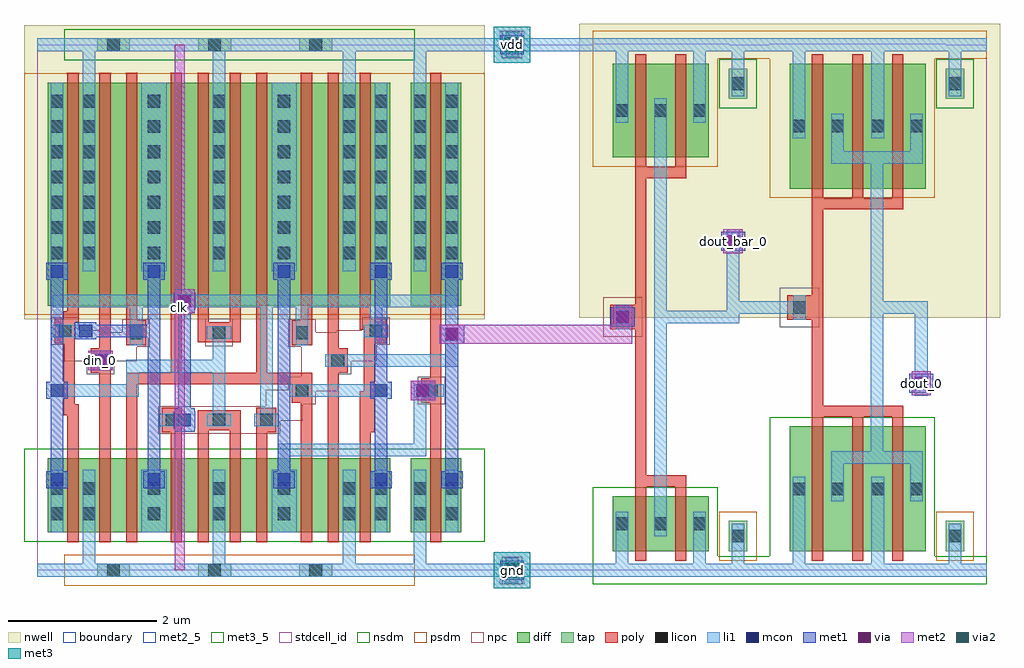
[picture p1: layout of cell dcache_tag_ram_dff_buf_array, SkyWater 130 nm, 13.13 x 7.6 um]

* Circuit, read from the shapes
.subckt dcache_tag_ram_dff_buf_array clk din_0 dout_0 dout_bar_0 gnd vdd
XM1 gnd n1 n2 gnd sky130_fd_pr__nfet_01v8 w=1 l=0.15
XM2 n3 din_0 gnd gnd sky130_fd_pr__nfet_01v8 w=1 l=0.15
XM3 n1 n4 n3 gnd sky130_fd_pr__nfet_01v8 w=1 l=0.15
XM4 n5 clk n1 gnd sky130_fd_pr__nfet_01v8 w=1 l=0.15
XM5 gnd n2 n5 gnd sky130_fd_pr__nfet_01v8 w=1 l=0.15
XM6 n6 n2 gnd gnd sky130_fd_pr__nfet_01v8 w=1 l=0.15
XM7 dcache_tag_ram_dff_buf_0_0/sky130_fd_bd_sram__openram_dff_0/QN clk n6 gnd sky130_fd_pr__nfet_01v8 w=1 l=0.15
XM8 n7 n4 dcache_tag_ram_dff_buf_0_0/sky130_fd_bd_sram__openram_dff_0/QN gnd sky130_fd_pr__nfet_01v8 w=1 l=0.15
XM9 gnd dcache_tag_ram_dff_buf_0_0/dcache_tag_ram_pinv_1/A n7 gnd sky130_fd_pr__nfet_01v8 w=1 l=0.15
XM10 n4 clk gnd gnd sky130_fd_pr__nfet_01v8 w=1 l=0.15
XM11 dcache_tag_ram_dff_buf_0_0/dcache_tag_ram_pinv_1/A dcache_tag_ram_dff_buf_0_0/sky130_fd_bd_sram__openram_dff_0/QN gnd gnd sky130_fd_pr__nfet_01v8 w=1 l=0.15
XM12 dout_bar_0 dcache_tag_ram_dff_buf_0_0/dcache_tag_ram_pinv_1/A gnd gnd sky130_fd_pr__nfet_01v8 w=0.74 l=0.15 m=2
XM13 dout_0 dout_bar_0 gnd gnd sky130_fd_pr__nfet_01v8 w=1.68 l=0.15 m=3
XM14 vdd n1 n2 vdd sky130_fd_pr__pfet_01v8 w=3 l=0.15
XM15 n8 din_0 vdd vdd sky130_fd_pr__pfet_01v8 w=3 l=0.15
XM16 n1 clk n8 vdd sky130_fd_pr__pfet_01v8 w=3 l=0.15
XM17 n9 n4 n1 vdd sky130_fd_pr__pfet_01v8 w=3 l=0.15
XM18 vdd n2 n9 vdd sky130_fd_pr__pfet_01v8 w=3 l=0.15
XM19 n10 n2 vdd vdd sky130_fd_pr__pfet_01v8 w=3 l=0.15
XM20 dcache_tag_ram_dff_buf_0_0/sky130_fd_bd_sram__openram_dff_0/QN n4 n10 vdd sky130_fd_pr__pfet_01v8 w=3 l=0.15
XM21 n11 clk dcache_tag_ram_dff_buf_0_0/sky130_fd_bd_sram__openram_dff_0/QN vdd sky130_fd_pr__pfet_01v8 w=3 l=0.15
XM22 vdd dcache_tag_ram_dff_buf_0_0/dcache_tag_ram_pinv_1/A n11 vdd sky130_fd_pr__pfet_01v8 w=3 l=0.15
XM23 n4 clk vdd vdd sky130_fd_pr__pfet_01v8 w=3 l=0.15
XM24 dcache_tag_ram_dff_buf_0_0/dcache_tag_ram_pinv_1/A dcache_tag_ram_dff_buf_0_0/sky130_fd_bd_sram__openram_dff_0/QN vdd vdd sky130_fd_pr__pfet_01v8 w=3 l=0.15
XM25 dout_bar_0 dcache_tag_ram_dff_buf_0_0/dcache_tag_ram_pinv_1/A vdd vdd sky130_fd_pr__pfet_01v8 w=1.26 l=0.15 m=2
XM26 dout_0 dout_bar_0 vdd vdd sky130_fd_pr__pfet_01v8 w=1.68 l=0.15 m=3
.ends

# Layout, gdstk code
import gdstk
lib = gdstk.Library(unit=1e-6, precision=1e-09)
def R(c, l, rs):  # rectangles x0, y0, x1, y1
    for r in rs: c.add(gdstk.rectangle(r[:2], r[2:], *l))
def A(c, l, x, y, w, h, nx, ny, dx, dy):  # array of equal rectangles
    R(c, l, [(x+i*dx, y+j*dy, x+i*dx+w, y+j*dy+h) for i in range(nx) for j in range(ny)])
nwell = (64, 20)
diff = (65, 20)
tap = (65, 44)
poly = (66, 20)
licon = (66, 44)
li1 = (67, 20)
mcon = (67, 44)
met1 = (68, 20)
via = (68, 44)
met2_5 = (69, 5)
met2 = (69, 20)
via2 = (69, 44)
met3_5 = (70, 5)
met3 = (70, 20)
stdcell_id = (81, 4)
nsdm = (93, 44)
psdm = (94, 20)
npc = (95, 20)
boundary = (235, 4)

sky130_fd_bd_sram__openr = lib.new_cell('sky130_fd_bd_sram__openram_dff')
R(sky130_fd_bd_sram__openr, nwell, [(-0.18,3.38,6.02,7.335)])
R(sky130_fd_bd_sram__openr, diff, [(0.14,0.51,4.75,1.51), (5.02,0.51,5.7,1.51), (0.14,3.56,4.75,6.56), (5.02,3.56,5.7,6.56)])
A(sky130_fd_bd_sram__openr, tap, 0.805, -0.085, 0.44, 0.17, 3, 2, 1.36, 7.07)
R(sky130_fd_bd_sram__openr, poly, [(0.405,0.38,0.555,2.085), (0.835,0.38,0.985,2.655), (1.195,0.38,1.345,2.505), (1.795,0.38,1.945,1.855), (2.155,0.38,2.305,1.885), (2.585,0.38,2.735,1.885), (2.945,0.38,3.095,1.855), (3.545,0.38,3.695,2.255), (3.905,0.38,4.055,2.655), (4.335,0.38,4.485,1.855), (5.285,0.38,5.435,2.255), (1.675,1.855,1.945,2.185), (2.945,1.855,3.215,2.185), (4.335,1.855,4.54,2.405), (2.155,1.885,2.735,2.155), (0.355,2.085,0.555,2.235), (0.355,2.235,0.505,3.055), (3.425,2.255,3.695,2.505), (5.165,2.255,5.435,2.585), (4.39,2.405,4.54,3.055), (1.195,2.505,3.695,2.655), (5.285,2.585,5.435,6.69), (0.715,2.655,0.985,2.985), (1.795,2.655,1.945,6.69), (2.945,2.655,3.095,6.69), (3.905,2.655,4.175,2.985), (0.835,2.985,0.985,6.69), (3.905,2.985,4.055,6.69), (1.195,3.03,1.465,3.36), (3.425,3.03,3.695,3.36), (0.235,3.055,0.505,3.335), (4.39,3.055,4.69,3.235), (2.155,3.065,2.735,3.335), (4.335,3.235,4.69,3.385), (0.235,3.335,0.555,3.385), (2.155,3.335,2.305,6.69), (2.585,3.335,2.735,6.69), (1.195,3.36,1.345,6.69), (3.545,3.36,3.695,6.69), (0.35,3.385,0.555,3.485), (4.335,3.385,4.485,6.69), (0.405,3.485,0.555,6.69)])
A(sky130_fd_bd_sram__openr, licon, 0.94, -0.085, 0.17, 0.17, 3, 2, 1.36, 7.07)
A(sky130_fd_bd_sram__openr, licon, 0.61, 0.675, 0.17, 0.17, 5, 2, 0.875, 0.34)
A(sky130_fd_bd_sram__openr, licon, 1.725, 1.935, 0.17, 0.17, 3, 1, 0.635, 0)
A(sky130_fd_bd_sram__openr, licon, 0.18, 4.185, 0.17, 0.17, 1, 7, 0, 0.34)
A(sky130_fd_bd_sram__openr, licon, 0.61, 4.185, 0.17, 0.17, 5, 7, 0.875, 0.34)
A(sky130_fd_bd_sram__openr, licon, 4.54, 4.185, 0.17, 0.17, 1, 7, 0, 0.34)
A(sky130_fd_bd_sram__openr, licon, 5.06, 4.185, 0.17, 0.17, 1, 7, 0, 0.34)
A(sky130_fd_bd_sram__openr, licon, 5.49, 4.185, 0.17, 0.17, 1, 7, 0, 0.34)
R(sky130_fd_bd_sram__openr, licon, [(0.18,0.675,0.35,0.845), (4.54,0.675,4.71,0.845), (5.06,0.675,5.23,0.845), (5.49,0.675,5.66,0.845), (0.18,1.015,0.35,1.185), (4.54,1.015,4.71,1.185), (5.06,1.015,5.23,1.185), (5.49,1.015,5.66,1.185), (3.475,2.335,3.645,2.505), (5.215,2.335,5.385,2.505), (0.765,2.735,0.935,2.905), (3.955,2.735,4.125,2.905), (1.245,3.11,1.415,3.28), (3.475,3.11,3.645,3.28), (2.36,3.115,2.53,3.285), (0.285,3.135,0.455,3.305), (4.47,3.135,4.64,3.305)])
A(sky130_fd_bd_sram__openr, li1, 0.61, 0.09, 0.17, 1.26, 3, 1, 1.75, 0)
A(sky130_fd_bd_sram__openr, li1, 0.61, 4.02, 0.17, 2.96, 3, 1, 1.75, 0)
R(sky130_fd_bd_sram__openr, li1, [(0,-0.09,5.84,0.09), (0,-0.09,5.84,0.09), (5.06,0.09,5.23,1.35), (0.18,0.51,0.35,1.35), (1.4,0.51,1.74,1.35), (3.15,0.51,3.49,1.35), (4.54,0.51,4.71,1.355), (5.49,0.51,5.66,1.355), (3.235,1.35,3.405,1.535), (3.235,1.535,5.23,1.705), (5.06,1.705,5.23,2.335), (1.64,1.935,2.065,2.105), (2.28,1.935,2.61,2.105), (2.915,1.935,3.245,2.105), (2.36,2.105,2.53,2.66), (2.995,2.105,3.165,3.535), (0.18,2.335,1.365,2.505), (3.395,2.335,4.71,2.505), (5.06,2.335,5.465,2.505), (1.195,2.505,1.365,2.66), (1.195,2.66,2.53,2.83), (0.685,2.735,1.015,2.905), (3.875,2.735,5.66,2.905), (2.36,2.83,2.53,3.115), (5.49,2.905,5.66,3.26), (1.245,3.03,1.415,3.535), (3.475,3.03,3.645,3.535), (2.28,3.115,2.61,3.285), (0.205,3.135,0.735,3.305), (4.39,3.135,4.72,3.305), (4.47,3.305,4.64,3.535), (0.205,3.535,5.66,3.705), (0.18,3.935,0.35,6.56), (1.485,3.935,1.655,4.02), (3.235,3.935,3.405,4.02), (4.54,3.935,4.71,6.56), (5.49,3.935,5.66,6.56), (1.4,4.02,1.74,6.56), (3.15,4.02,3.49,6.56), (5.06,4.02,5.23,6.98), (0,6.98,5.84,7.16), (0,6.98,5.84,7.16), (0,6.98,5.84,7.16)])
R(sky130_fd_bd_sram__openr, mcon, [(0.18,1.135,0.35,1.305), (1.485,1.135,1.655,1.305), (3.235,1.135,3.405,1.305), (4.54,1.135,4.71,1.305), (5.49,1.135,5.66,1.305), (1.895,1.935,2.065,2.105), (0.18,2.335,0.35,2.505), (4.54,2.335,4.71,2.505), (5.1,2.335,5.27,2.505), (0.765,2.735,0.935,2.905), (5.49,3.09,5.66,3.26), (0.565,3.135,0.735,3.305), (1.895,3.535,2.065,3.705), (0.18,3.935,0.35,4.105), (1.485,3.935,1.655,4.105), (3.235,3.935,3.405,4.105), (4.54,3.935,4.71,4.105), (5.49,3.935,5.66,4.105)])
R(sky130_fd_bd_sram__openr, met1, [(0.12,1.105,0.41,1.335), (1.425,1.105,1.715,1.335), (3.175,1.105,3.465,1.335), (4.48,1.105,4.77,1.335), (5.43,1.105,5.72,1.335), (0.18,1.335,0.35,2.305), (1.485,1.335,1.655,3.135), (3.235,1.335,3.405,3.905), (4.54,1.335,4.71,2.305), (5.49,1.335,5.66,3.045), (1.845,1.86,2.115,1.905), (1.835,1.905,2.125,2.135), (1.845,2.135,2.115,2.18), (1.895,2.18,2.065,3.46), (5.02,2.29,5.35,2.55), (0.12,2.305,0.41,2.535), (4.48,2.305,4.77,2.535), (0.18,2.535,0.35,3.905), (4.54,2.535,4.71,3.905), (0.685,2.69,1.015,2.95), (5.41,3.045,5.74,3.305), (0.505,3.105,0.795,3.135), (0.505,3.135,1.655,3.305), (0.505,3.305,0.795,3.335), (1.485,3.305,1.655,3.905), (5.49,3.305,5.66,3.905), (1.845,3.46,2.115,3.505), (1.835,3.505,2.125,3.735), (1.845,3.735,2.115,3.78), (0.12,3.905,0.41,4.135), (1.425,3.905,1.715,4.135), (3.175,3.905,3.465,4.135), (4.48,3.905,4.77,4.135), (5.43,3.905,5.72,4.135)])
R(sky130_fd_bd_sram__openr, via, [(5.11,2.345,5.26,2.495), (0.775,2.745,0.925,2.895), (5.5,3.1,5.65,3.25), (1.905,3.545,2.055,3.695)])
R(sky130_fd_bd_sram__openr, met2_5, [(0.685,2.69,1.015,2.95), (5.41,3.045,5.74,3.305), (1.845,3.46,2.115,3.78)])
R(sky130_fd_bd_sram__openr, met2, [(5.02,2.29,5.35,2.55), (0.685,2.69,1.015,2.95), (0.685,2.69,1.015,2.95), (0.685,2.69,1.015,2.95), (5.41,3.045,5.74,3.305), (5.41,3.045,5.74,3.305), (5.41,3.045,5.74,3.305), (1.845,3.46,2.115,3.78), (1.845,3.46,2.115,3.78), (1.845,3.46,2.115,3.78)])
R(sky130_fd_bd_sram__openr, stdcell_id, [(0,0,5.84,7.07)])
R(sky130_fd_bd_sram__openr, nsdm, [(-0.18,0.385,6.02,1.635), (0.36,6.86,5.075,7.07), (0.36,7.07,5.075,7.28)])
R(sky130_fd_bd_sram__openr, psdm, [(0.36,-0.21,5.075,0), (0.36,0,5.075,0.21), (-0.18,3.435,6.02,6.685)])
R(sky130_fd_bd_sram__openr, npc, [(1.625,1.835,3.265,2.01), (1.625,2.01,3.57,2.205), (3.07,2.205,3.57,2.235), (3.07,2.235,3.745,2.41), (5.115,2.235,5.485,2.605), (3.07,2.41,4.05,2.43), (3.375,2.43,4.05,2.605), (3.55,2.605,4.05,2.635), (0.665,2.635,1.035,2.81), (3.55,2.635,4.225,2.81), (0.36,2.81,1.34,3.01), (3.55,2.81,4.565,3.01), (0.36,3.01,1.515,3.035), (3.375,3.01,4.565,3.035), (2.26,3.015,2.63,3.385), (0.185,3.035,1.515,3.205), (3.375,3.035,4.74,3.205), (0.185,3.205,0.86,3.23), (1.145,3.205,1.515,3.38), (3.375,3.205,3.745,3.38), (4.03,3.205,4.74,3.23), (0.185,3.23,0.555,3.405), (4.37,3.23,4.74,3.405)])
R(sky130_fd_bd_sram__openr, boundary, [(0,0,5.84,7.07)])
sky130_fd_bd_sram__openr.add(gdstk.Label('QN', (5.035,2.52), layer=69, texttype=5))
sky130_fd_bd_sram__openr.add(gdstk.Label('CLK', (1.98,3.62), layer=69, texttype=5))
sky130_fd_bd_sram__openr.add(gdstk.Label('D', (0.85,2.82), layer=69, texttype=5))
sky130_fd_bd_sram__openr.add(gdstk.Label('Q', (5.575,3.175), layer=69, texttype=5))
sky130_fd_bd_sram__openr.add(gdstk.Label('VDD', (2.74,7.08), layer=67, texttype=5))
sky130_fd_bd_sram__openr.add(gdstk.Label('GND', (2.72,0), layer=67, texttype=5))
sky130_fd_bd_sram__openr.add(gdstk.Label('D', (0.85,2.82), layer=69, texttype=5))
sky130_fd_bd_sram__openr.add(gdstk.Label('Q', (5.575,3.175), layer=69, texttype=5))
sky130_fd_bd_sram__openr.add(gdstk.Label('clk', (1.98,3.62), layer=69, texttype=5))
sky130_fd_bd_sram__openr.add(gdstk.Label('vdd', (2.92,7.07), layer=67, texttype=5))
sky130_fd_bd_sram__openr.add(gdstk.Label('gnd', (2.92,0), layer=67, texttype=5))

dcache_tag_ram_contact_1 = lib.new_cell('dcache_tag_ram_contact_11')
R(dcache_tag_ram_contact_1, nwell, [(-0.295,-0.255,0.545,0.585)])
R(dcache_tag_ram_contact_1, diff, [(0,0.02,0.25,0.31)])
R(dcache_tag_ram_contact_1, licon, [(0.04,0.08,0.21,0.25)])
R(dcache_tag_ram_contact_1, li1, [(0.04,0,0.21,0.33)])
R(dcache_tag_ram_contact_1, stdcell_id, [(-0.295,-0.255,0.545,0.585)])
R(dcache_tag_ram_contact_1, psdm, [(-0.125,-0.105,0.375,0.435)])
R(dcache_tag_ram_contact_1, boundary, [(-0.295,-0.255,0.545,0.585)])

dcache_tag_ram_pmos_m2_w = lib.new_cell('dcache_tag_ram_pmos_m2_w1_260_sli_dli_da_p')
R(dcache_tag_ram_pmos_m2_w, nwell, [(-0.27,-0.27,1.56,1.53)])
R(dcache_tag_ram_pmos_m2_w, diff, [(0,0,1.29,1.26)])
R(dcache_tag_ram_pmos_m2_w, poly, [(0.3,-0.28,0.99,-0.13), (0.3,-0.13,0.45,1.39), (0.84,-0.13,0.99,1.39)])
A(dcache_tag_ram_pmos_m2_w, li1, 0.04, 0.465, 0.17, 0.33, 3, 1, 0.52, 0)
R(dcache_tag_ram_pmos_m2_w, stdcell_id, [(-0.27,-0.28,1.56,1.53)])
R(dcache_tag_ram_pmos_m2_w, psdm, [(-0.125,-0.125,1.415,1.385)])
R(dcache_tag_ram_pmos_m2_w, boundary, [(-0.27,-0.28,1.56,1.53)])
dcache_tag_ram_pmos_m2_w.add(gdstk.Reference(dcache_tag_ram_contact_1, (0,0.465)))
dcache_tag_ram_pmos_m2_w.add(gdstk.Reference(dcache_tag_ram_contact_1, (0.52,0.465)))
dcache_tag_ram_pmos_m2_w.add(gdstk.Reference(dcache_tag_ram_contact_1, (1.04,0.465)))
dcache_tag_ram_pmos_m2_w.add(gdstk.Label('G', (0.645,-0.205), layer=66, texttype=5))
dcache_tag_ram_pmos_m2_w.add(gdstk.Label('S', (1.165,0.63), layer=67, texttype=5))
dcache_tag_ram_pmos_m2_w.add(gdstk.Label('S', (0.125,0.63), layer=67, texttype=5))
dcache_tag_ram_pmos_m2_w.add(gdstk.Label('D', (0.645,0.63), layer=67, texttype=5))

c_dcache_tag_ram_contact_1 = lib.new_cell('dcache_tag_ram_contact_10')
R(c_dcache_tag_ram_contact_1, diff, [(0,0.02,0.25,0.31)])
R(c_dcache_tag_ram_contact_1, licon, [(0.04,0.08,0.21,0.25)])
R(c_dcache_tag_ram_contact_1, li1, [(0.04,0,0.21,0.33)])
R(c_dcache_tag_ram_contact_1, stdcell_id, [(-0.125,-0.105,0.375,0.435)])
R(c_dcache_tag_ram_contact_1, nsdm, [(-0.125,-0.105,0.375,0.435)])
R(c_dcache_tag_ram_contact_1, boundary, [(-0.125,-0.105,0.375,0.435)])

dcache_tag_ram_nmos_m2_w = lib.new_cell('dcache_tag_ram_nmos_m2_w0_740_sli_dli_da_p')
R(dcache_tag_ram_nmos_m2_w, diff, [(0,0,1.29,0.74)])
R(dcache_tag_ram_nmos_m2_w, poly, [(0.3,-0.13,0.45,0.87), (0.84,-0.13,0.99,0.87), (0.3,0.87,0.99,1.02)])
A(dcache_tag_ram_nmos_m2_w, li1, 0.04, 0.205, 0.17, 0.33, 3, 1, 0.52, 0)
R(dcache_tag_ram_nmos_m2_w, stdcell_id, [(-0.125,-0.13,1.415,1.02)])
R(dcache_tag_ram_nmos_m2_w, nsdm, [(-0.125,-0.125,1.415,0.865)])
R(dcache_tag_ram_nmos_m2_w, boundary, [(-0.125,-0.13,1.415,1.02)])
dcache_tag_ram_nmos_m2_w.add(gdstk.Reference(c_dcache_tag_ram_contact_1, (0,0.205)))
dcache_tag_ram_nmos_m2_w.add(gdstk.Reference(c_dcache_tag_ram_contact_1, (0.52,0.205)))
dcache_tag_ram_nmos_m2_w.add(gdstk.Reference(c_dcache_tag_ram_contact_1, (1.04,0.205)))
dcache_tag_ram_nmos_m2_w.add(gdstk.Label('G', (0.645,0.945), layer=66, texttype=5))
dcache_tag_ram_nmos_m2_w.add(gdstk.Label('S', (1.165,0.37), layer=67, texttype=5))
dcache_tag_ram_nmos_m2_w.add(gdstk.Label('S', (0.125,0.37), layer=67, texttype=5))
dcache_tag_ram_nmos_m2_w.add(gdstk.Label('D', (0.645,0.37), layer=67, texttype=5))

dcache_tag_ram_contact_2 = lib.new_cell('dcache_tag_ram_contact_24')
R(dcache_tag_ram_contact_2, nwell, [(-0.295,-0.215,0.545,0.625)])
R(dcache_tag_ram_contact_2, tap, [(0,0,0.25,0.41)])
R(dcache_tag_ram_contact_2, licon, [(0.04,0.12,0.21,0.29)])
R(dcache_tag_ram_contact_2, li1, [(0.04,0.04,0.21,0.37)])
R(dcache_tag_ram_contact_2, stdcell_id, [(-0.295,-0.215,0.545,0.625)])
R(dcache_tag_ram_contact_2, nsdm, [(-0.125,-0.125,0.375,0.535)])
R(dcache_tag_ram_contact_2, boundary, [(-0.295,-0.215,0.545,0.625)])

c_dcache_tag_ram_contact_2 = lib.new_cell('dcache_tag_ram_contact_25')
R(c_dcache_tag_ram_contact_2, tap, [(0,0,0.25,0.41)])
R(c_dcache_tag_ram_contact_2, licon, [(0.04,0.12,0.21,0.29)])
R(c_dcache_tag_ram_contact_2, li1, [(0.04,0.04,0.21,0.37)])
R(c_dcache_tag_ram_contact_2, stdcell_id, [(-0.125,-0.125,0.375,0.535)])
R(c_dcache_tag_ram_contact_2, psdm, [(-0.125,-0.125,0.375,0.535)])
R(c_dcache_tag_ram_contact_2, boundary, [(-0.125,-0.125,0.375,0.535)])

c_dcache_tag_ram_contact_1_ = lib.new_cell('dcache_tag_ram_contact_15')
R(c_dcache_tag_ram_contact_1_, poly, [(0,0,0.33,0.33)])
R(c_dcache_tag_ram_contact_1_, licon, [(0.08,0.08,0.25,0.25)])
R(c_dcache_tag_ram_contact_1_, li1, [(0.08,0,0.25,0.33)])
R(c_dcache_tag_ram_contact_1_, stdcell_id, [(-0.1,-0.1,0.43,0.43)])
R(c_dcache_tag_ram_contact_1_, npc, [(-0.1,-0.1,0.43,0.43)])
R(c_dcache_tag_ram_contact_1_, boundary, [(-0.1,-0.1,0.43,0.43)])

dcache_tag_ram_pinv = lib.new_cell('dcache_tag_ram_pinv')
R(dcache_tag_ram_pinv, nwell, [(-0.18,3.395,2.56,7.355)])
R(dcache_tag_ram_pinv, poly, [(0.57,1.275,0.72,5.275), (0.405,3.24,0.57,3.57)])
R(dcache_tag_ram_pinv, li1, [(0,-0.085,2.38,0.085), (0.31,-0.085,0.48,0.46), (1.35,-0.085,1.52,0.46), (1.87,0,2.04,0.46), (0.83,0.46,1,6.35), (0.32,3.24,0.49,3.57), (0.915,3.32,1.085,3.49), (0.31,6.02,0.48,7.155), (1.35,6.02,1.52,7.155), (1.87,6.545,2.04,7.07), (0,6.985,2.38,7.155)])
R(dcache_tag_ram_pinv, stdcell_id, [(0,0,2.38,7.07), (0,0,2.38,7.07)])
R(dcache_tag_ram_pinv, nsdm, [(0,-0.19,2.38,0.19), (0,0,1.685,1.12)])
R(dcache_tag_ram_pinv, psdm, [(0,5.43,1.685,7.07), (0,6.88,2.38,7.26)])
R(dcache_tag_ram_pinv, boundary, [(0,0,2.38,7.07), (0,0,2.38,7.07)])
dcache_tag_ram_pinv.add(gdstk.Reference(dcache_tag_ram_pmos_m2_w, (0.27,5.555)))
dcache_tag_ram_pinv.add(gdstk.Reference(dcache_tag_ram_nmos_m2_w, (0.27,0.255)))
dcache_tag_ram_pinv.add(gdstk.Reference(dcache_tag_ram_contact_2, (1.83,6.34)))
dcache_tag_ram_pinv.add(gdstk.Reference(c_dcache_tag_ram_contact_2, (1.83,0.255)))
dcache_tag_ram_pinv.add(gdstk.Reference(c_dcache_tag_ram_contact_1_, (0.24,3.24)))
dcache_tag_ram_pinv.add(gdstk.Label('A', (0.405,3.405), layer=67, texttype=5))
dcache_tag_ram_pinv.add(gdstk.Label('Z', (1,3.405), layer=67, texttype=5))
dcache_tag_ram_pinv.add(gdstk.Label('gnd', (1.19,0), layer=67, texttype=5))
dcache_tag_ram_pinv.add(gdstk.Label('vdd', (1.19,7.07), layer=67, texttype=5))

dcache_tag_ram_pmos_m3_w = lib.new_cell('dcache_tag_ram_pmos_m3_w1_680_sli_dli_da_p')
R(dcache_tag_ram_pmos_m3_w, nwell, [(-0.27,-0.27,2.1,1.95)])
R(dcache_tag_ram_pmos_m3_w, diff, [(0,0,1.83,1.68)])
A(dcache_tag_ram_pmos_m3_w, poly, 0.3, -0.13, 0.15, 1.94, 3, 1, 0.54, 0)
R(dcache_tag_ram_pmos_m3_w, poly, [(0.3,-0.28,1.53,-0.13)])
R(dcache_tag_ram_pmos_m3_w, li1, [(0.56,0.335,1.79,0.505), (0.56,0.42,0.73,0.84), (1.62,0.42,1.79,0.84), (0.04,0.675,0.21,1.005), (1.1,0.675,1.27,1.005)])
R(dcache_tag_ram_pmos_m3_w, stdcell_id, [(-0.27,-0.28,2.1,1.95)])
R(dcache_tag_ram_pmos_m3_w, psdm, [(-0.125,-0.125,1.955,1.805)])
R(dcache_tag_ram_pmos_m3_w, boundary, [(-0.27,-0.28,2.1,1.95)])
dcache_tag_ram_pmos_m3_w.add(gdstk.Reference(dcache_tag_ram_contact_1, (0,0.675)))
dcache_tag_ram_pmos_m3_w.add(gdstk.Reference(dcache_tag_ram_contact_1, (0.52,0.675)))
dcache_tag_ram_pmos_m3_w.add(gdstk.Reference(dcache_tag_ram_contact_1, (1.06,0.675)))
dcache_tag_ram_pmos_m3_w.add(gdstk.Reference(dcache_tag_ram_contact_1, (1.58,0.675)))
dcache_tag_ram_pmos_m3_w.add(gdstk.Label('G', (0.915,-0.205), layer=66, texttype=5))
dcache_tag_ram_pmos_m3_w.add(gdstk.Label('S', (1.185,0.84), layer=67, texttype=5))
dcache_tag_ram_pmos_m3_w.add(gdstk.Label('S', (0.125,0.84), layer=67, texttype=5))
dcache_tag_ram_pmos_m3_w.add(gdstk.Label('D', (1.175,0.42), layer=67, texttype=5))

dcache_tag_ram_nmos_m3_w = lib.new_cell('dcache_tag_ram_nmos_m3_w1_680_sli_dli_da_p')
R(dcache_tag_ram_nmos_m3_w, diff, [(0,0,1.83,1.68)])
A(dcache_tag_ram_nmos_m3_w, poly, 0.3, -0.13, 0.15, 1.94, 3, 1, 0.54, 0)
R(dcache_tag_ram_nmos_m3_w, poly, [(0.3,1.81,1.53,1.96)])
R(dcache_tag_ram_nmos_m3_w, li1, [(0.04,0.675,0.21,1.005), (1.1,0.675,1.27,1.005), (0.56,0.84,0.73,1.26), (1.62,0.84,1.79,1.26), (0.56,1.175,1.79,1.345)])
R(dcache_tag_ram_nmos_m3_w, stdcell_id, [(-0.125,-0.13,1.955,1.96)])
R(dcache_tag_ram_nmos_m3_w, nsdm, [(-0.125,-0.125,1.955,1.805)])
R(dcache_tag_ram_nmos_m3_w, boundary, [(-0.125,-0.13,1.955,1.96)])
dcache_tag_ram_nmos_m3_w.add(gdstk.Reference(c_dcache_tag_ram_contact_1, (0,0.675)))
dcache_tag_ram_nmos_m3_w.add(gdstk.Reference(c_dcache_tag_ram_contact_1, (0.52,0.675)))
dcache_tag_ram_nmos_m3_w.add(gdstk.Reference(c_dcache_tag_ram_contact_1, (1.06,0.675)))
dcache_tag_ram_nmos_m3_w.add(gdstk.Reference(c_dcache_tag_ram_contact_1, (1.58,0.675)))
dcache_tag_ram_nmos_m3_w.add(gdstk.Label('G', (0.915,1.885), layer=66, texttype=5))
dcache_tag_ram_nmos_m3_w.add(gdstk.Label('S', (1.185,0.84), layer=67, texttype=5))
dcache_tag_ram_nmos_m3_w.add(gdstk.Label('S', (0.125,0.84), layer=67, texttype=5))
dcache_tag_ram_nmos_m3_w.add(gdstk.Label('D', (1.175,1.26), layer=67, texttype=5))

dcache_tag_ram_pinv_0 = lib.new_cell('dcache_tag_ram_pinv_0')
R(dcache_tag_ram_pinv_0, nwell, [(-0.18,3.395,3.1,7.355)])
R(dcache_tag_ram_pinv_0, poly, [(0.57,2.215,0.72,4.855), (0.405,3.37,0.57,3.7)])
R(dcache_tag_ram_pinv_0, li1, [(0,-0.085,2.92,0.085), (0.31,-0.085,0.48,0.93), (1.37,-0.085,1.54,0.93), (2.41,0,2.58,0.46), (1.36,1.43,1.53,5.64), (0.32,3.37,0.49,3.7), (1.445,3.45,1.615,3.62), (0.31,5.81,0.48,7.155), (1.37,5.81,1.54,7.155), (2.41,6.545,2.58,7.07), (0,6.985,2.92,7.155)])
R(dcache_tag_ram_pinv_0, stdcell_id, [(0,0,2.92,7.07), (0,0,2.92,7.07)])
R(dcache_tag_ram_pinv_0, nsdm, [(0,-0.19,2.92,0.19), (0,0,2.225,2.06)])
R(dcache_tag_ram_pinv_0, psdm, [(0,5.01,2.225,7.07), (0,6.88,2.92,7.26)])
R(dcache_tag_ram_pinv_0, boundary, [(0,0,2.92,7.07), (0,0,2.92,7.07)])
dcache_tag_ram_pinv_0.add(gdstk.Reference(dcache_tag_ram_pmos_m3_w, (0.27,5.135)))
dcache_tag_ram_pinv_0.add(gdstk.Reference(dcache_tag_ram_nmos_m3_w, (0.27,0.255)))
dcache_tag_ram_pinv_0.add(gdstk.Reference(dcache_tag_ram_contact_2, (2.37,6.34)))
dcache_tag_ram_pinv_0.add(gdstk.Reference(c_dcache_tag_ram_contact_2, (2.37,0.255)))
dcache_tag_ram_pinv_0.add(gdstk.Reference(c_dcache_tag_ram_contact_1_, (0.24,3.37)))
dcache_tag_ram_pinv_0.add(gdstk.Label('A', (0.405,3.535), layer=67, texttype=5))
dcache_tag_ram_pinv_0.add(gdstk.Label('Z', (1.53,3.535), layer=67, texttype=5))
dcache_tag_ram_pinv_0.add(gdstk.Label('gnd', (1.46,0), layer=67, texttype=5))
dcache_tag_ram_pinv_0.add(gdstk.Label('vdd', (1.46,7.07), layer=67, texttype=5))

c_dcache_tag_ram_contact_1__ = lib.new_cell('dcache_tag_ram_contact_13')
R(c_dcache_tag_ram_contact_1__, li1, [(0.06,0,0.23,0.33)])
R(c_dcache_tag_ram_contact_1__, mcon, [(0.06,0.08,0.23,0.25)])
R(c_dcache_tag_ram_contact_1__, met1, [(0,0.05,0.29,0.28)])
R(c_dcache_tag_ram_contact_1__, stdcell_id, [(0,0,0.29,0.33)])
R(c_dcache_tag_ram_contact_1__, boundary, [(0,0,0.29,0.33)])

c_dcache_tag_ram_contact_1___ = lib.new_cell('dcache_tag_ram_contact_18')
R(c_dcache_tag_ram_contact_1___, met1, [(0,0.03,0.32,0.29)])
R(c_dcache_tag_ram_contact_1___, via, [(0.085,0.085,0.235,0.235)])
R(c_dcache_tag_ram_contact_1___, met2, [(0.03,0,0.29,0.32)])
R(c_dcache_tag_ram_contact_1___, stdcell_id, [(0,0,0.32,0.32)])
R(c_dcache_tag_ram_contact_1___, boundary, [(0,0,0.32,0.32)])

dcache_tag_ram_dff_buf_0 = lib.new_cell('dcache_tag_ram_dff_buf_0')
R(dcache_tag_ram_dff_buf_0, li1, [(0,-0.09,12.77,0.09), (11.805,2.515,11.975,3.535), (8.47,3.32,9.36,3.49), (9.275,3.32,9.445,3.49), (9.275,3.405,9.445,3.535), (9.275,3.405,9.445,4.425), (9.275,3.45,9.445,3.62), (9.36,3.45,10.255,3.62), (11.38,3.45,11.89,3.62), (11.805,3.45,11.975,3.62), (0,6.98,12.77,7.16)])
R(dcache_tag_ram_dff_buf_0, met1, [(11.73,2.385,12.05,2.645), (7.715,3.275,8.035,3.535), (9.2,4.295,9.52,4.555)])
R(dcache_tag_ram_dff_buf_0, met2_5, [(11.82,2.445,11.96,2.585), (0.685,2.69,1.015,2.95), (1.845,3.46,2.115,3.78), (9.29,4.355,9.43,4.495)])
R(dcache_tag_ram_dff_buf_0, met2, [(11.82,2.445,11.96,2.585), (0.685,2.69,1.015,2.95), (5.575,3.045,7.875,3.305), (7.745,3.045,8.005,3.305), (7.745,3.175,8.005,3.405), (1.845,3.46,2.115,3.78), (9.29,4.355,9.43,4.495)])
R(dcache_tag_ram_dff_buf_0, stdcell_id, [(0,0,12.77,7.07)])
R(dcache_tag_ram_dff_buf_0, boundary, [(0,0,12.77,7.07)])
dcache_tag_ram_dff_buf_0.add(gdstk.Reference(sky130_fd_bd_sram__openr, (0,0)))
dcache_tag_ram_dff_buf_0.add(gdstk.Reference(dcache_tag_ram_pinv, (7.47,0)))
dcache_tag_ram_dff_buf_0.add(gdstk.Reference(dcache_tag_ram_pinv_0, (9.85,0)))
dcache_tag_ram_dff_buf_0.add(gdstk.Reference(c_dcache_tag_ram_contact_1__, (7.73,3.24)))
dcache_tag_ram_dff_buf_0.add(gdstk.Reference(c_dcache_tag_ram_contact_1___, (7.715,3.245)))
dcache_tag_ram_dff_buf_0.add(gdstk.Reference(c_dcache_tag_ram_contact_1__, (11.745,2.35)))
dcache_tag_ram_dff_buf_0.add(gdstk.Reference(c_dcache_tag_ram_contact_1___, (11.73,2.355)))
dcache_tag_ram_dff_buf_0.add(gdstk.Reference(c_dcache_tag_ram_contact_1__, (9.22,4.26)))
dcache_tag_ram_dff_buf_0.add(gdstk.Reference(c_dcache_tag_ram_contact_1___, (9.2,4.265)))
dcache_tag_ram_dff_buf_0.add(gdstk.Label('vdd', (6.385,7.07), layer=67, texttype=5))
dcache_tag_ram_dff_buf_0.add(gdstk.Label('gnd', (6.385,0), layer=67, texttype=5))
dcache_tag_ram_dff_buf_0.add(gdstk.Label('clk', (1.98,3.62), layer=69, texttype=5))
dcache_tag_ram_dff_buf_0.add(gdstk.Label('D', (0.85,2.82), layer=69, texttype=5))
dcache_tag_ram_dff_buf_0.add(gdstk.Label('Q', (11.89,2.515), layer=69, texttype=5))
dcache_tag_ram_dff_buf_0.add(gdstk.Label('Qb', (9.36,4.425), layer=69, texttype=5))

c_dcache_tag_ram_contact_2_ = lib.new_cell('dcache_tag_ram_contact_21')
R(c_dcache_tag_ram_contact_2_, met2, [(0.025,0,0.305,0.37)])
R(c_dcache_tag_ram_contact_2_, via2, [(0.065,0.085,0.265,0.285)])
R(c_dcache_tag_ram_contact_2_, met3, [(0,0.02,0.33,0.35)])
R(c_dcache_tag_ram_contact_2_, stdcell_id, [(0,0,0.33,0.37)])
R(c_dcache_tag_ram_contact_2_, boundary, [(0,0,0.33,0.37)])

dcache_tag_ram_dff_buf_a = lib.new_cell('dcache_tag_ram_dff_buf_array')
R(dcache_tag_ram_dff_buf_a, li1, [(0,-0.09,12.77,0.09), (0,6.98,12.77,7.16)])
R(dcache_tag_ram_dff_buf_a, met1, [(6.225,-0.13,6.545,0.13), (6.225,6.94,6.545,7.2)])
R(dcache_tag_ram_dff_buf_a, met2_5, [(1.845,0,1.985,7.07), (11.82,2.445,11.96,2.585), (0.685,2.69,1.015,2.95), (9.29,4.355,9.43,4.495)])
R(dcache_tag_ram_dff_buf_a, met2, [(6.245,-0.12,6.525,0.125), (1.845,0,1.985,7.07), (11.82,2.445,11.96,2.585), (0.685,2.69,1.015,2.95), (9.29,4.355,9.43,4.495), (6.245,6.95,6.525,7.195)])
R(dcache_tag_ram_dff_buf_a, met3_5, [(6.14,-0.245,6.63,0.245), (6.14,6.825,6.63,7.315)])
R(dcache_tag_ram_dff_buf_a, met3, [(6.14,-0.245,6.63,0.245), (6.14,6.825,6.63,7.315)])
R(dcache_tag_ram_dff_buf_a, stdcell_id, [(0,0,12.77,7.07)])
R(dcache_tag_ram_dff_buf_a, boundary, [(0,0,12.77,7.07)])
dcache_tag_ram_dff_buf_a.add(gdstk.Reference(dcache_tag_ram_dff_buf_0, (0,0)))
dcache_tag_ram_dff_buf_a.add(gdstk.Reference(c_dcache_tag_ram_contact_1__, (6.24,6.905)))
dcache_tag_ram_dff_buf_a.add(gdstk.Reference(c_dcache_tag_ram_contact_1___, (6.225,6.91)))
dcache_tag_ram_dff_buf_a.add(gdstk.Reference(c_dcache_tag_ram_contact_2_, (6.22,6.885)))
dcache_tag_ram_dff_buf_a.add(gdstk.Reference(c_dcache_tag_ram_contact_1__, (6.24,-0.165)))
dcache_tag_ram_dff_buf_a.add(gdstk.Reference(c_dcache_tag_ram_contact_1___, (6.225,-0.16)))
dcache_tag_ram_dff_buf_a.add(gdstk.Reference(c_dcache_tag_ram_contact_2_, (6.22,-0.185)))
dcache_tag_ram_dff_buf_a.add(gdstk.Label('vdd', (6.385,7.07), layer=70, texttype=5))
dcache_tag_ram_dff_buf_a.add(gdstk.Label('gnd', (6.385,0), layer=70, texttype=5))
dcache_tag_ram_dff_buf_a.add(gdstk.Label('din_0', (0.85,2.82), layer=69, texttype=5))
dcache_tag_ram_dff_buf_a.add(gdstk.Label('dout_0', (11.89,2.515), layer=69, texttype=5))
dcache_tag_ram_dff_buf_a.add(gdstk.Label('dout_bar_0', (9.36,4.425), layer=69, texttype=5))
dcache_tag_ram_dff_buf_a.add(gdstk.Label('clk', (1.915,3.535), layer=69, texttype=5))

lib.write_gds('dcache_tag_ram_dff_buf_array.gds')
